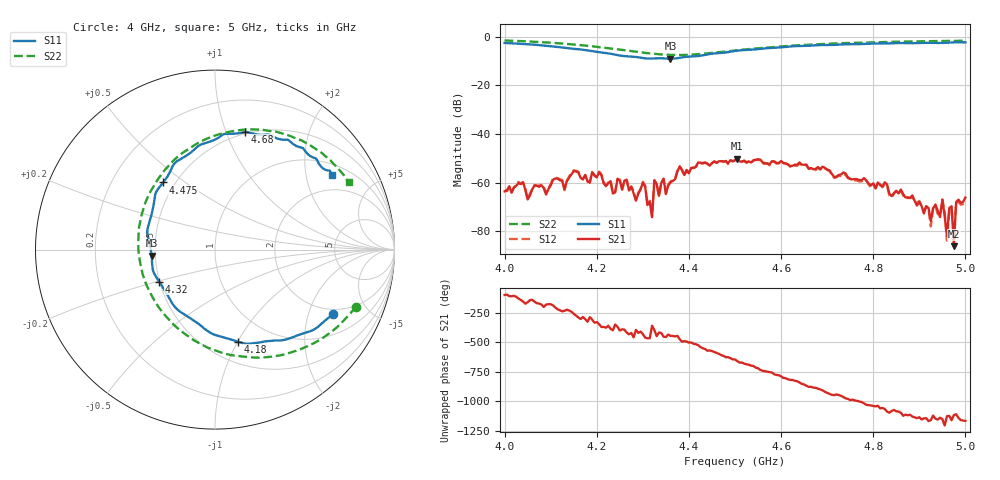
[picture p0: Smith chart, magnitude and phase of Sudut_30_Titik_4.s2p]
# Hz S RI R 50
! CMT, C1220, 16058040, 17.2.0/1
! Date: 15/08/2018 12:27:14
! Data: Format (Calibration Info)
! Freq  S11: Re/Im (F2)  S21: Re/Im (F2)  S12: Re/Im (F2)  S22: Re/Im (F2)
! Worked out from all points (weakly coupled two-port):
!   201 points, 4 GHz to 5 GHz, reference 50 ohm
!   highest |S21| = -50.17 dB at 4.505 GHz (marker M1); lowest = -86.2 dB at 4.975 GHz (marker M2)
!   lowest |S11| = -9.0 dB at 4.36 GHz (marker M3), VSWR 2.10, Z = 23.9 - j1.87 ohm
!   |S11| at or under -10 dB: nowhere
!   |S22| runs from -7.5 to -1.5 dB; largest |S21 - S12| = 0.00014
!   S11 on the Smith chart (normalised r, x): 4 GHz: 1.78, -2.93; 4.18 GHz: 0.70, -1.00; 4.32 GHz: 0.50, -0.20; 4.475 GHz: 0.43, +0.42; 4.68 GHz: 0.48, +1.17; 5 GHz: 1.37, +2.81
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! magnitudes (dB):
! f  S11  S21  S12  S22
! 4 GHz  -2.5  -63.6  -63.0  -1.5
! 4.17 GHz  -5.3  -58.7  -58.5  -3.5
! 4.18 GHz  -5.5  -59.5  -59.3  -3.7
! 4.285 GHz  -8.3  -67.3  -67.4  -6.1
! 4.3 GHz  -8.7  -60.1  -59.6  -6.5
! 4.32 GHz  -8.9  -74.2  -73.9  -6.9
! 4.325 GHz  -8.8  -59.0  -59.2  -7.0
! 4.335 GHz  -8.8  -65.4  -65.7  -7.1
! 4.36 GHz  -9.0  -59.9  -59.5  -7.4
! 4.475 GHz  -6.5  -51.3  -51.4  -6.1
! 4.5 GHz  -5.8  -50.8  -50.8  -5.6
! 4.505 GHz  -5.6  -50.2  -50.2  -5.5
! 4.67 GHz  -3.5  -54.5  -54.9  -3.1
! 4.68 GHz  -3.4  -53.6  -54.0  -3.0
! 4.835 GHz  -2.7  -64.5  -65.3  -2.0
! 4.925 GHz  -2.4  -75.9  -78.0  -1.7
! 4.95 GHz  -2.5  -67.0  -67.0  -1.7
! 4.96 GHz  -2.4  -82.1  -83.8  -1.7
! 4.97 GHz  -2.2  -69.7  -71.1  -1.6
! 4.975 GHz  -2.2  -86.2  -80.0  -1.6
! 4.98 GHz  -2.2  -68.0  -68.7  -1.6
! 5 GHz  -2.3  -66.1  -67.2  -1.6
